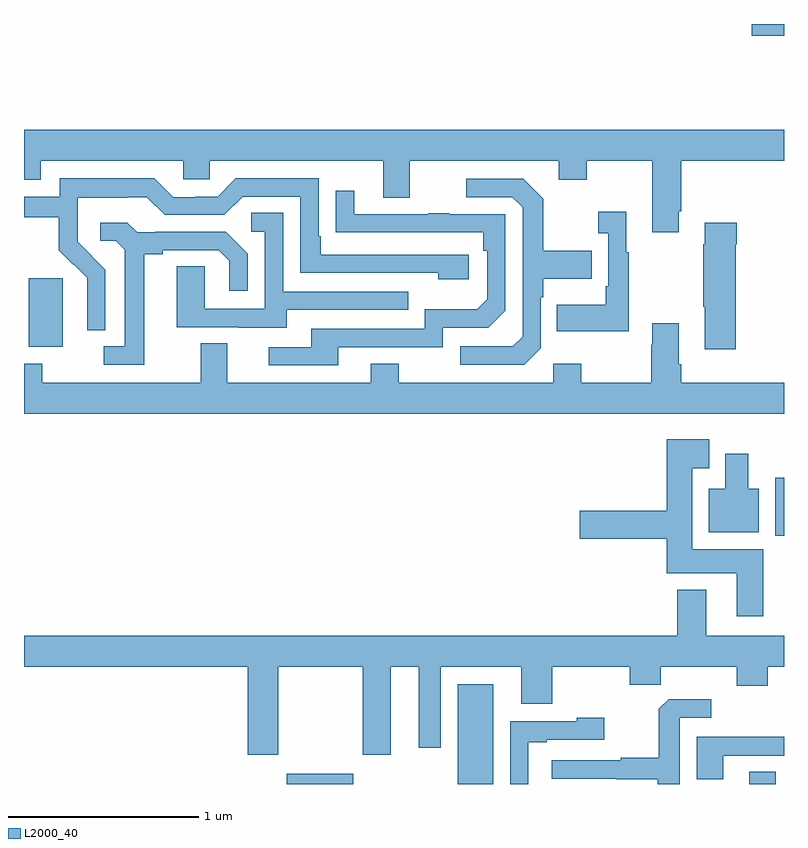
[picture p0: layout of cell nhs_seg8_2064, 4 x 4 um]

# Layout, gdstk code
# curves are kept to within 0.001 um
import gdstk
lib = gdstk.Library(unit=1e-6, precision=1e-09)
def R(c, l, rs):  # rectangles x0, y0, x1, y1
    for r in rs: c.add(gdstk.rectangle(r[:2], r[2:], *l))
def P(c, l, *ps):  # polygons
    for p in ps: c.add(gdstk.Polygon(p, *l))
L2000_40 = (2000, 40)

nhs_seg8_2064 = lib.new_cell('nhs_seg8_2064')
R(nhs_seg8_2064, L2000_40, [(242.384,1099.9,242.734,1099.954), (243.284,1099.9,243.469,1100.425), (244.817,1099.9,244.957,1099.964), (244.955,1101.206,245,1101.511), (241.025,1102.202,241.204,1102.563), (244.83,1103.837,245,1103.9)])
P(nhs_seg8_2064, L2000_40, [(244.447,1102.915),(244.46,1102.915),(244.46,1103.18),(245,1103.18),(245,1103.344),(241,1103.344),(241,1103.081),(241.087,1103.081),(241.087,1103.18),(241.839,1103.18),(241.839,1103.082),(241.977,1103.082),(241.977,1103.18),(242.891,1103.18),(242.891,1102.986),(243.031,1102.986),(243.031,1103.18),(243.815,1103.18),(243.815,1103.081),(243.963,1103.081),(243.963,1103.18),(244.307,1103.18),(244.307,1102.803),(244.447,1102.803)],
  [(241.428,1102.606),(241.282,1102.754),(241.282,1102.851),(241.284,1102.851),(241.284,1102.985),(241.547,1102.985),(241.547,1102.989),(241.647,1102.989),(241.74,1102.896),(242.055,1102.896),(242.151,1102.992),(242.454,1102.992),(242.454,1102.59),(243.179,1102.59),(243.179,1102.556),(243.34,1102.556),(243.34,1102.686),(242.563,1102.686),(242.563,1102.783),(242.55,1102.783),(242.55,1103.088),(242.115,1103.088),(242.019,1102.992),(241.901,1102.992),(241.901,1102.989),(241.785,1102.989),(241.685,1103.089),(241.188,1103.089),(241.188,1102.992),(241,1102.992),(241,1102.884),(241.183,1102.884),(241.183,1102.709),(241.26,1102.632),(241.263,1102.635),(241.334,1102.565),(241.334,1102.442),(241.332,1102.442),(241.332,1102.288),(241.428,1102.288)],
  [(243.72,1102.194),(243.72,1102.463),(243.733,1102.463),(243.733,1102.559),(243.989,1102.559),(243.989,1102.707),(243.733,1102.707),(243.733,1102.979),(243.627,1103.085),(243.327,1103.085),(243.327,1102.989),(243.57,1102.989),(243.624,1102.935),(243.624,1102.254),(243.573,1102.203),(243.297,1102.203),(243.297,1102.107),(243.633,1102.107)],
  [(242.653,1102.2),(243.204,1102.2),(243.204,1102.302),(243.444,1102.302),(243.534,1102.392),(243.534,1102.899),(243.239,1102.899),(243.239,1102.904),(243.127,1102.904),(243.127,1102.899),(242.737,1102.899),(242.737,1103.023),(242.641,1103.023),(242.641,1102.804),(243.418,1102.803),(243.418,1102.706),(243.438,1102.706),(243.438,1102.452),(243.385,1102.399),(243.108,1102.399),(243.108,1102.296),(242.513,1102.296),(242.513,1102.2),(242.289,1102.2),(242.289,1102.104),(242.653,1102.104)],
  [(244.183,1102.699),(244.171,1102.699),(244.171,1102.912),(244.023,1102.912),(244.023,1102.799),(244.074,1102.799),(244.074,1102.519),(244.062,1102.519),(244.062,1102.423),(243.805,1102.423),(243.805,1102.283),(244.183,1102.283)],
  [(242.383,1102.395),(243.023,1102.395),(243.023,1102.491),(242.364,1102.491),(242.364,1102.907),(242.196,1102.907),(242.196,1102.806),(242.268,1102.806),(242.268,1102.401),(241.95,1102.401),(241.95,1102.625),(241.805,1102.625),(241.805,1102.305),(242.129,1102.305),(242.129,1102.301),(242.383,1102.301)],
  [(241.633,1102.688),(241.729,1102.688),(241.729,1102.71),(242.024,1102.71),(242.081,1102.653),(242.081,1102.497),(242.178,1102.497),(242.178,1102.69),(242.062,1102.806),(241.69,1102.806),(241.69,1102.803),(241.596,1102.803),(241.544,1102.855),(241.401,1102.855),(241.401,1102.758),(241.482,1102.758),(241.529,1102.711),(241.529,1102.203),(241.419,1102.203),(241.419,1102.107),(241.633,1102.107)],
  [(244.746,1102.742),(244.751,1102.742),(244.751,1102.855),(244.583,1102.855),(244.583,1102.742),(244.576,1102.742),(244.576,1102.411),(244.583,1102.411),(244.583,1102.188),(244.746,1102.188)],
  [(245,1102.012),(244.46,1102.012),(244.46,1102.108),(244.447,1102.108),(244.447,1102.324),(244.307,1102.324),(244.307,1102.211),(244.3,1102.211),(244.3,1102.012),(243.933,1102.012),(243.933,1102.111),(243.786,1102.111),(243.786,1102.012),(242.973,1102.012),(242.973,1102.111),(242.825,1102.111),(242.825,1102.012),(242.071,1102.012),(242.071,1102.22),(241.931,1102.22),(241.931,1102.012),(241.095,1102.012),(241.095,1102.111),(241,1102.111),(241,1101.848),(245,1101.848)],
  [(244.891,1101.136),(244.516,1101.136),(244.516,1101.563),(244.606,1101.563),(244.606,1101.715),(244.382,1101.715),(244.382,1101.338),(243.924,1101.338),(243.924,1101.191),(244.382,1101.191),(244.382,1101.008),(244.751,1101.008),(244.751,1100.784),(244.891,1100.784)],
  [(244.867,1101.454),(244.813,1101.454),(244.813,1101.637),(244.691,1101.637),(244.691,1101.454),(244.604,1101.454),(244.604,1101.224),(244.867,1101.224)],
  [(242.337,1100.516),(242.782,1100.516),(242.782,1100.055),(242.929,1100.055),(242.929,1100.516),(243.077,1100.516),(243.077,1100.091),(243.193,1100.091),(243.193,1100.516),(243.617,1100.516),(243.617,1100.322),(243.781,1100.322),(243.781,1100.516),(244.187,1100.516),(244.187,1100.423),(244.351,1100.423),(244.351,1100.516),(244.751,1100.516),(244.751,1100.417),(244.915,1100.417),(244.915,1100.516),(245,1100.516),(245,1100.68),(244.591,1100.68),(244.591,1100.923),(244.439,1100.923),(244.439,1100.68),(241,1100.68),(241,1100.516),(242.177,1100.516),(242.177,1100.055),(242.337,1100.055)],
  [(244.452,1100.25),(244.618,1100.25),(244.618,1100.347),(244.393,1100.347),(244.341,1100.295),(244.341,1100.038),(244.141,1100.038),(244.141,1100.025),(243.777,1100.025),(243.777,1099.928),(244.117,1099.928),(244.117,1099.924),(244.336,1099.924),(244.336,1099.9),(244.452,1099.9)],
  [(243.654,1100.121),(243.751,1100.121),(243.751,1100.133),(244.054,1100.133),(244.054,1100.248),(243.909,1100.248),(243.909,1100.229),(243.558,1100.229),(243.558,1099.9),(243.654,1099.9)],
  [(244.681,1100.049),(245,1100.049),(245,1100.15),(244.541,1100.15),(244.541,1099.924),(244.681,1099.924)])

lib.write_gds('nhs_seg8_2064.gds')
